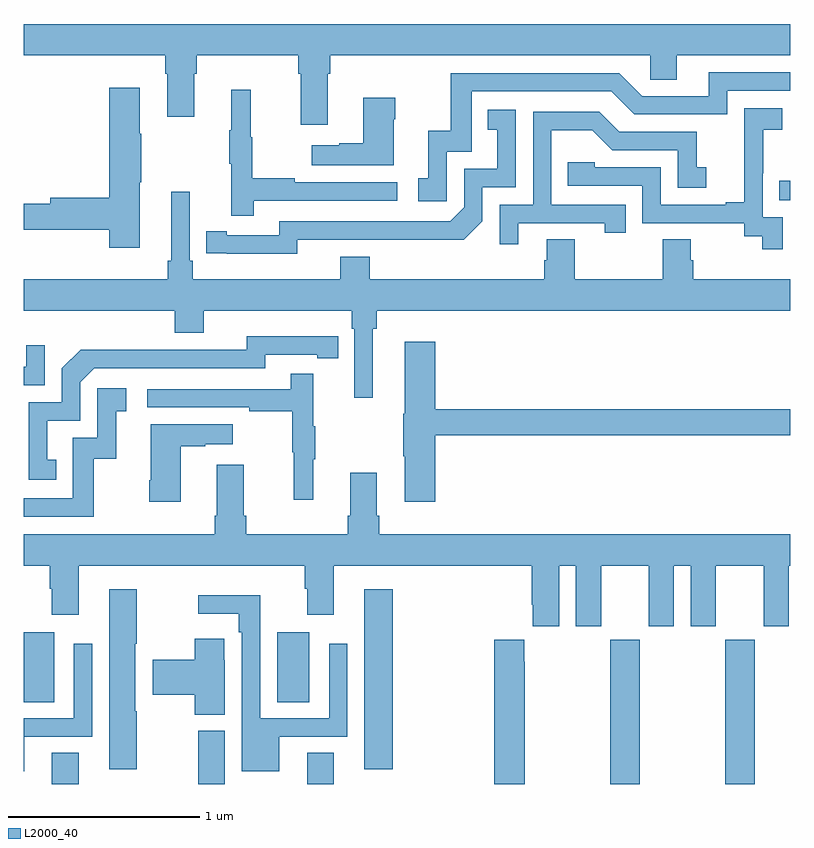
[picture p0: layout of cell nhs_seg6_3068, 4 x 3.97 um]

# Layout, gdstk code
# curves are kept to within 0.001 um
import gdstk
lib = gdstk.Library(unit=1e-6, precision=1e-09)
def R(c, l, rs):  # rectangles x0, y0, x1, y1
    for r in rs: c.add(gdstk.rectangle(r[:2], r[2:], *l))
def P(c, l, *ps):  # polygons
    for p in ps: c.add(gdstk.Polygon(p, *l))
L2000_40 = (2000, 40)

nhs_seg6_3068 = lib.new_cell('nhs_seg6_3068')
R(nhs_seg6_3068, L2000_40, [(291.146,975.5,291.286,975.662), (291.91,975.5,292.048,975.777), (292.478,975.5,292.618,975.662), (294.061,975.5,294.216,976.252), (294.661,975.5,294.816,976.252), (292.778,975.576,292.925,976.516), (291,975.928,291.157,976.291), (292.322,975.928,292.489,976.291), (294.943,978.549,295,978.65)])
P(nhs_seg6_3068, L2000_40, [(291,979.304),(291.737,979.304),(291.737,979.208),(291.749,979.208),(291.749,978.984),(291.889,978.984),(291.889,979.208),(291.902,979.208),(291.902,979.304),(292.433,979.304),(292.433,979.208),(292.445,979.208),(292.445,978.942),(292.585,978.942),(292.585,979.208),(292.598,979.208),(292.598,979.304),(294.27,979.304),(294.27,979.177),(294.409,979.177),(294.409,979.304),(295,979.304),(295,979.468),(291,979.468)],
  [(293.208,978.801),(293.337,978.801),(293.337,979.116),(294.066,979.116),(294.186,978.996),(294.672,978.996),(294.672,979.119),(295,979.119),(295,979.215),(294.575,979.215),(294.575,979.092),(294.228,979.092),(294.108,979.212),(293.229,979.212),(293.229,978.91),(293.111,978.91),(293.111,978.663),(293.058,978.663),(293.058,978.543),(293.208,978.543)],
  [(291.604,978.643),(291.612,978.643),(291.612,978.896),(291.604,978.896),(291.604,979.135),(291.446,979.135),(291.446,978.56),(291.137,978.56),(291.137,978.53),(291,978.53),(291,978.395),(291.446,978.395),(291.446,978.3),(291.604,978.3)],
  [(292.199,978.546),(292.948,978.546),(292.948,978.642),(292.415,978.642),(292.415,978.662),(292.192,978.662),(292.192,978.876),(292.184,978.876),(292.184,979.126),(292.082,979.126),(292.082,978.913),(292.071,978.913),(292.071,978.739),(292.082,978.739),(292.082,978.468),(292.199,978.468)],
  [(292.93,978.971),(292.938,978.971),(292.938,979.084),(292.772,979.084),(292.772,978.845),(292.646,978.845),(292.646,978.835),(292.503,978.835),(292.503,978.731),(292.93,978.731)],
  [(294.963,978.459),(294.858,978.459),(294.858,978.689),(294.86,978.689),(294.86,978.917),(294.958,978.917),(294.958,979.027),(294.76,979.027),(294.76,978.821),(294.761,978.821),(294.761,978.538),(294.665,978.538),(294.665,978.525),(294.324,978.525),(294.324,978.72),(293.979,978.72),(293.979,978.747),(293.839,978.747),(293.839,978.624),(294.228,978.624),(294.228,978.429),(294.762,978.429),(294.762,978.361),(294.855,978.361),(294.855,978.291),(294.963,978.291)],
  [(292.428,978.342),(293.296,978.341),(293.394,978.438),(293.394,978.615),(293.568,978.615),(293.568,979.021),(293.422,979.021),(293.422,978.915),(293.471,978.915),(293.471,978.711),(293.298,978.711),(293.298,978.51),(293.226,978.438),(292.332,978.438),(292.332,978.366),(292.06,978.366),(292.06,978.386),(291.952,978.386),(291.952,978.27),(292.428,978.269)],
  [(293.581,978.429),(294.032,978.429),(294.032,978.378),(294.143,978.378),(294.143,978.525),(293.754,978.525),(293.754,978.914),(293.968,978.914),(294.072,978.81),(294.414,978.81),(294.414,978.612),(294.562,978.612),(294.562,978.721),(294.513,978.721),(294.513,978.906),(294.109,978.906),(294.004,979.011),(293.658,979.011),(293.658,978.525),(293.484,978.525),(293.484,978.318),(293.581,978.318)],
  [(292.805,978.253),(292.652,978.253),(292.652,978.136),(291.881,978.136),(291.881,978.232),(291.867,978.232),(291.867,978.592),(291.77,978.592),(291.77,978.232),(291.751,978.232),(291.751,978.136),(291,978.136),(291,977.972),(291.788,977.972),(291.788,977.855),(291.94,977.855),(291.94,977.972),(292.712,977.972),(292.712,977.876),(292.725,977.876),(292.725,977.517),(292.822,977.517),(292.822,977.876),(292.841,977.876),(292.841,977.972),(295,977.972),(295,978.136),(294.494,978.136),(294.494,978.234),(294.481,978.234),(294.481,978.344),(294.334,978.344),(294.334,978.136),(293.877,978.136),(293.877,978.344),(293.729,978.344),(293.729,978.234),(293.717,978.234),(293.717,978.136),(292.805,978.136)],
  [(291.17,977.193),(291.121,977.193),(291.121,977.397),(291.294,977.397),(291.294,977.598),(291.366,977.67),(292.26,977.67),(292.26,977.742),(292.532,977.742),(292.532,977.722),(292.64,977.722),(292.64,977.838),(292.164,977.839),(292.164,977.766),(291.704,977.766),(291.704,977.768),(291.296,977.768),(291.198,977.67),(291.198,977.493),(291.024,977.493),(291.024,977.088),(291.17,977.088)],
  [(293.147,977.32),(295,977.32),(295,977.456),(293.147,977.456),(293.147,977.809),(292.988,977.809),(292.988,977.433),(292.981,977.433),(292.981,977.212),(292.988,977.212),(292.988,976.974),(293.147,976.974)],
  [(291.108,977.791),(291.011,977.791),(291.011,977.679),(291,977.679),(291,977.583),(291.108,977.583)],
  [(292.511,977.195),(292.522,977.195),(292.522,977.369),(292.511,977.369),(292.511,977.641),(292.393,977.641),(292.393,977.562),(291.645,977.562),(291.645,977.466),(292.177,977.466),(292.177,977.446),(292.401,977.446),(292.401,977.232),(292.408,977.232),(292.408,976.983),(292.511,976.983)],
  [(291.364,977.199),(291.482,977.199),(291.482,977.445),(291.535,977.445),(291.535,977.566),(291.384,977.566),(291.384,977.307),(291.255,977.307),(291.255,976.992),(291,976.992),(291,976.896),(291.364,976.896)],
  [(291.82,977.263),(291.947,977.263),(291.947,977.273),(292.09,977.273),(292.09,977.377),(291.662,977.377),(291.662,977.086),(291.655,977.086),(291.655,976.974),(291.82,976.974)],
  [(293.794,976.64),(293.882,976.64),(293.882,976.323),(294.013,976.323),(294.013,976.64),(294.263,976.64),(294.263,976.323),(294.394,976.323),(294.394,976.64),(294.482,976.64),(294.482,976.323),(294.613,976.323),(294.613,976.64),(294.863,976.64),(294.863,976.323),(294.994,976.323),(294.994,976.64),(295,976.64),(295,976.804),(292.856,976.804),(292.856,976.9),(292.843,976.9),(292.843,977.125),(292.703,977.125),(292.703,976.9),(292.691,976.9),(292.691,976.804),(292.16,976.804),(292.16,976.9),(292.147,976.9),(292.147,977.167),(292.007,977.167),(292.007,976.9),(291.995,976.9),(291.995,976.804),(291,976.804),(291,976.64),(291.134,976.64),(291.134,976.52),(291.146,976.52),(291.146,976.383),(291.286,976.383),(291.286,976.64),(292.466,976.64),(292.466,976.52),(292.478,976.52),(292.478,976.383),(292.618,976.383),(292.618,976.64),(293.651,976.64),(293.651,976.435),(293.657,976.435),(293.657,976.323),(293.794,976.323)],
  [(291.588,975.881),(291.58,975.881),(291.58,976.231),(291.588,976.231),(291.588,976.516),(291.446,976.516),(291.446,975.576),(291.588,975.576)],
  [(292.333,975.747),(292.689,975.747),(292.689,976.231),(292.593,976.231),(292.593,975.843),(292.233,975.843),(292.233,976.486),(291.909,976.486),(291.909,976.388),(292.121,976.388),(292.121,976.292),(292.137,976.292),(292.137,975.566),(292.333,975.566)],
  [(292.048,976.145),(292.047,976.145),(292.047,976.258),(291.892,976.258),(291.892,976.148),(291.672,976.148),(291.672,975.965),(291.892,975.965),(291.892,975.862),(292.048,975.862)],
  [(293.616,976.139),(293.611,976.139),(293.611,976.252),(293.456,976.252),(293.456,975.5),(293.616,975.5)],
  [(291.001,975.747),(291.357,975.747),(291.357,976.231),(291.261,976.231),(291.261,975.843),(291,975.843),(291,975.566),(291.001,975.566)])

lib.write_gds('nhs_seg6_3068.gds')
